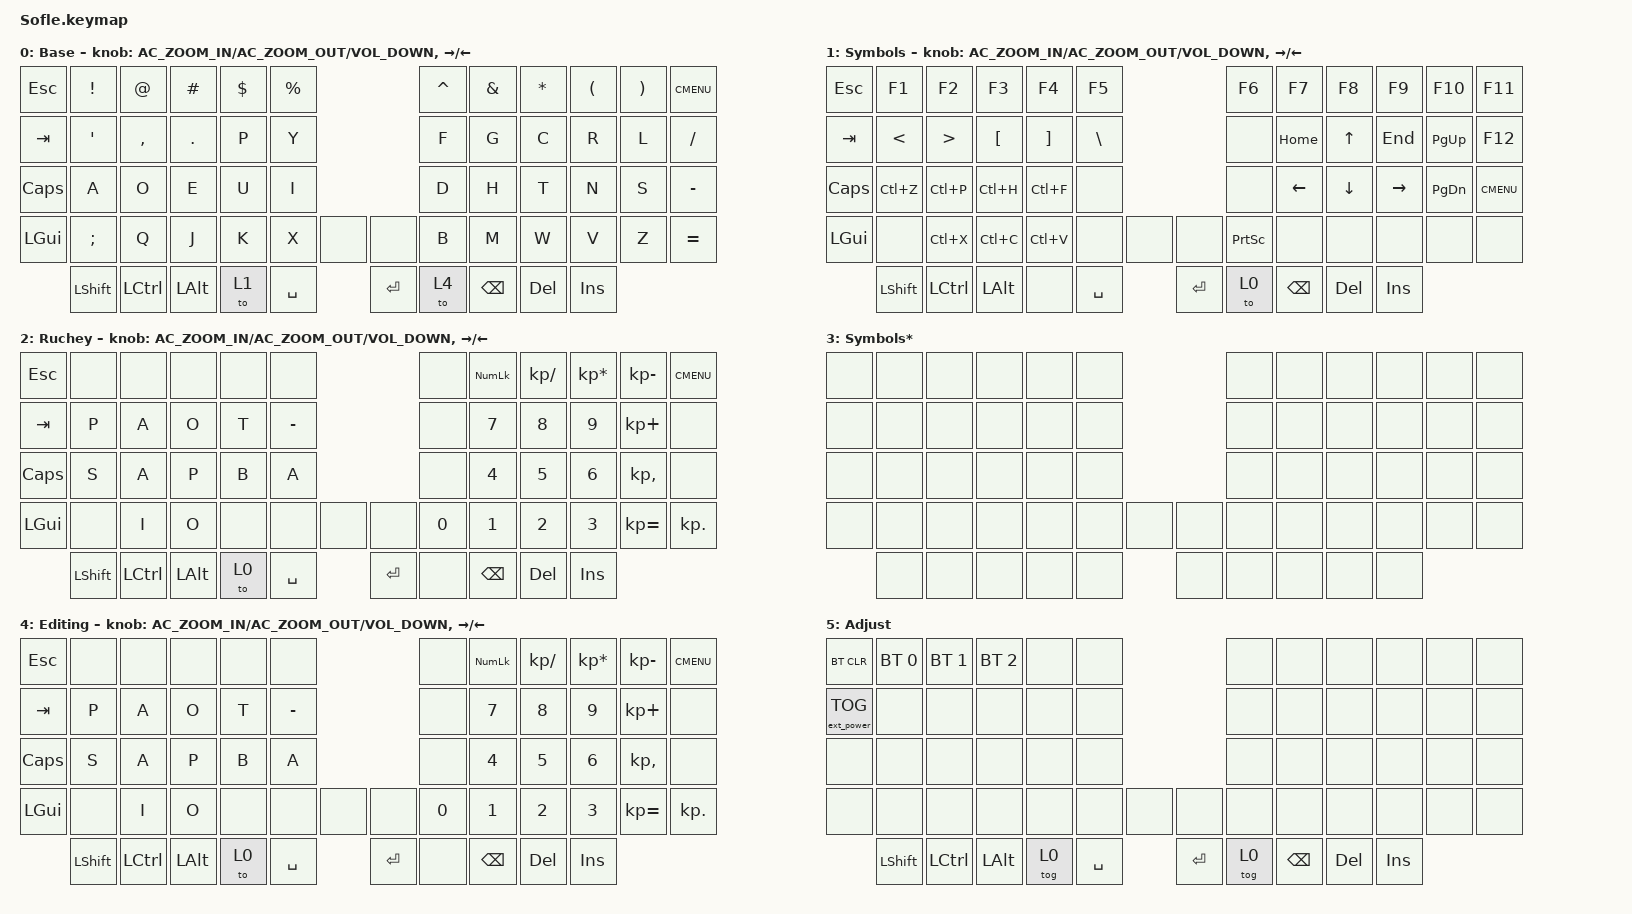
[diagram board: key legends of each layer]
/*
 * Copyright (c) 2020 The ZMK Contributors
 *
 * SPDX-License-Identifier: MIT
 */

#include <behaviors.dtsi>
#include <dt-bindings/zmk/keys.h>
#include <dt-bindings/zmk/bt.h>
#include <dt-bindings/zmk/rgb.h>
#include <dt-bindings/zmk/ext_power.h>

#define BASE 0
#define SYMBOLS_BASE 1
#define RUCHEY 2
#define SYMBOLS_RUCHEY 3
#define EDITING 4
#define ADJUST 5

/ {

   // Activate ADJUST layer by pressing raise and lower
    conditional_layers {
        compatible = "zmk,conditional-layers";
        adjust_layer {
            if-layers = <SYMBOLS_BASE EDITING>;
            then-layer = <ADJUST>;
        };
        adjust_layer_legacy {
            if-layers = <SYMBOLS_RUCHEY EDITING>;
            then-layer = <ADJUST>;
        };
    };

    keymap {
        compatible = "zmk,keymap";

        base_layer {
            display-name = "Base";
            bindings = <
&kp ESC   &kp EXCL  &kp AT     &kp HASH  &kp DLLR  &kp PRCNT              &kp CARET  &kp AMPS  &kp STAR  &kp LPAR  &kp RPAR  &kp K_CMENU
&kp TAB   &kp SQT   &kp COMMA  &kp DOT   &kp P     &kp Y                  &kp F      &kp G     &kp C     &kp R     &kp L     &kp FSLH
&kp CLCK  &kp A     &kp O      &kp E     &kp U     &kp I                  &kp D      &kp H     &kp T     &kp N     &kp S     &kp MINUS
&kp LGUI  &kp SEMI  &kp Q      &kp J     &kp K     &kp X   &none &none    &kp B      &kp M     &kp W     &kp V     &kp Z     &kp EQUAL
        &kp LSHFT   &kp LCTRL   &kp LALT   &to 1   &kp SPACE &kp RET    &to 4   &kp BSPC   &kp DEL   &kp INS
            >;

            sensor-bindings = <&inc_dec_kp C_AC_ZOOM_IN C_AC_ZOOM_OUT K_VOLUME_DOWN &inc_dec_kp RIGHT_ARROW LEFT_ARROW>;
        };

        symbols_base_layer {
            display-name = "Symbols";
            bindings = <
&kp ESC   &kp F1    &kp F2     &kp F3     &kp F4     &kp F5                 &kp F6      &kp F7     &kp F8    &kp F9    &kp F10    &kp F11
&kp TAB   &kp LT    &kp GT     &kp LBKT   &kp RBKT   &kp BSLH               &none       &kp HOME   &kp UP    &kp END   &kp PG_UP  &kp F12
&kp CLCK  &kp LC(Z) &kp LC(P)  &kp LC(H)  &kp LC(F)  &none                  &none       &kp LEFT   &kp DOWN  &kp RIGHT &kp PG_DN  &kp K_CMENU
&kp LGUI  &none     &kp LC(X)  &kp LC(C)  &kp LC(V)  &none    &none &none   &kp PSCRN   &none      &none     &none     &none      &none
                       &kp LSHFT   &kp LCTRL   &kp LALT   &none   &kp SPACE &kp RET    &to 0   &kp BSPC   &kp DEL   &kp INS
            >;
            sensor-bindings = <&inc_dec_kp C_AC_ZOOM_IN C_AC_ZOOM_OUT K_VOLUME_DOWN &inc_dec_kp RIGHT_ARROW LEFT_ARROW>;
        };

        ruchey_layer {
            display-name = "Ruchey";
             bindings = <
&kp ESC   &none    &none     &none     &none   &none                 &none  &kp KP_NUMLOCK &kp KP_DIVIDE &kp KP_MULTIPLY &kp KP_MINUS  &kp K_CMENU
&kp TAB   &kp P    &kp A     &kp O     &kp T   &kp MINUS             &none  &kp N7         &kp N8        &kp N9          &kp KP_PLUS   &none
&kp CLCK  &kp S    &kp A     &kp P     &kp B   &kp A                 &none  &kp N4         &kp N5        &kp N6          &kp KP_COMMA  &none
&kp LGUI  &none    &kp I     &kp O     &none   &none   &none &none   &kp N0 &kp N1         &kp N2        &kp N3          &kp KP_EQUAL  &kp KP_DOT
         &kp LSHFT   &kp LCTRL   &kp LALT   &to 0   &kp SPACE &kp RET    &none   &kp BSPC   &kp DEL   &kp INS
            >;
            sensor-bindings = <&inc_dec_kp C_AC_ZOOM_IN C_AC_ZOOM_OUT K_VOLUME_DOWN &inc_dec_kp RIGHT_ARROW LEFT_ARROW>;
        };

        symbols_ruchey_layer {
            display-name = "Symbols*";
            bindings = <
&none &none &none  &none  &none  &none               &none &none &none &none &none &none
&none &none &none  &none  &none  &none               &none &none &none &none &none &none
&none &none &none  &none  &none  &none               &none &none &none &none &none &none
&none &none &none  &none  &none  &none  &none  &none &none &none &none &none &none &none
                 &none &none &none &none &none   &none &none &none &none &none
            >;
         //  sensor-bindings = <&inc_dec_kp K_VOLUME_UP K_VOLUME_DOWN &inc_dec_kp LEFT_ARROW RIGHT_ARROW>;
        };

        editing_layer {
            display-name = "Editing";
            bindings = <
&kp ESC   &none    &none     &none     &none   &none                 &none  &kp KP_NUMLOCK &kp KP_DIVIDE &kp KP_MULTIPLY &kp KP_MINUS  &kp K_CMENU
&kp TAB   &kp P    &kp A     &kp O     &kp T   &kp MINUS             &none  &kp N7         &kp N8        &kp N9          &kp KP_PLUS   &none
&kp CLCK  &kp S    &kp A     &kp P     &kp B   &kp A                 &none  &kp N4         &kp N5        &kp N6          &kp KP_COMMA  &none
&kp LGUI  &none    &kp I     &kp O     &none   &none   &none &none   &kp N0 &kp N1         &kp N2        &kp N3          &kp KP_EQUAL  &kp KP_DOT
         &kp LSHFT   &kp LCTRL   &kp LALT   &to 0   &kp SPACE &kp RET    &none   &kp BSPC   &kp DEL   &kp INS
            >;
            sensor-bindings = <&inc_dec_kp C_AC_ZOOM_IN C_AC_ZOOM_OUT K_VOLUME_DOWN &inc_dec_kp RIGHT_ARROW LEFT_ARROW>;
        };

        adjust_layer {
            display-name = "Adjust";
            bindings = <
&bt BT_CLR        &bt BT_SEL 0 &bt BT_SEL 1 &bt BT_SEL 2 &none &none              &none &none &none &none &none &none
&ext_power EP_TOG &none        &none        &none        &none &none              &none &none &none &none &none &none
&none             &none        &none        &none        &none &none              &none &none &none &none &none &none
&none             &none        &none        &none        &none &none &none &none  &none &none &none &none &none &none
        &kp LSHFT   &kp LCTRL   &kp LALT   &tog 0   &kp SPACE &kp RET    &tog 0   &kp BSPC   &kp DEL   &kp INS
            >;
        };

        extra3 {
            status = "reserved";
        };

        extra4 {
            status = "reserved";
        };
    };
};
